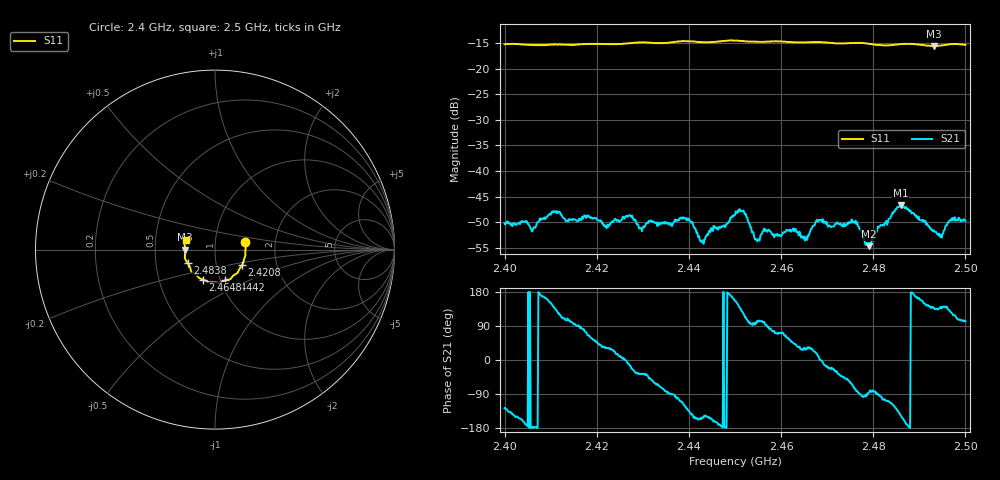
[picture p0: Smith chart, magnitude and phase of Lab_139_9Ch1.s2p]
# Hz S RI R 50
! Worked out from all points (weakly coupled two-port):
!   601 points, 2.4 GHz to 2.5 GHz, reference 50 ohm
!   highest |S21| = -46.66 dB at 2.486 GHz (marker M1); lowest = -54.7 dB at 2.479 GHz (marker M2)
!   lowest |S11| = -15.6 dB at 2.4932 GHz (marker M3), VSWR 1.40, Z = 35.8 - j0.0786 ohm
!   |S11| at or under -10 dB: start of sweep to end of sweep
!   S12 and S22 are empty: the file has one direction only
!   S11 on the Smith chart (normalised r, x): 2.4 GHz: 1.40, +0.12; 2.4208 GHz: 1.33, -0.24; 2.4442 GHz: 1.05, -0.37; 2.4648 GHz: 0.83, -0.29; 2.4838 GHz: 0.73, -0.11; 2.5 GHz: 0.72, +0.08
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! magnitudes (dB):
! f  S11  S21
! 2.4 GHz  -15.2  -50.2
! 2.4062 GHz  -15.4  -51.3
! 2.4107 GHz  -15.3  -48.0
! 2.4167 GHz  -15.2  -49.6
! 2.4208 GHz  -15.2  -49.6
! 2.4333 GHz  -15.0  -50.0
! 2.4388 GHz  -14.6  -49.1
! 2.4428 GHz  -14.8  -53.8
! 2.4442 GHz  -14.9  -52.4
! 2.45 GHz  -14.5  -48.6
! 2.452 GHz  -14.7  -48.1
! 2.4548 GHz  -14.8  -53.7
! 2.4568 GHz  -14.7  -51.6
! 2.4648 GHz  -14.9  -53.1
! 2.4667 GHz  -14.8  -51.2
! 2.4757 GHz  -15.0  -49.8
! 2.479 GHz  -15.1  -54.7
! 2.4833 GHz  -15.5  -49.3
! 2.4838 GHz  -15.4  -48.9
! 2.486 GHz  -15.2  -46.7
! 2.4932 GHz  -15.6  -51.6
! 2.5 GHz  -15.4  -49.7
